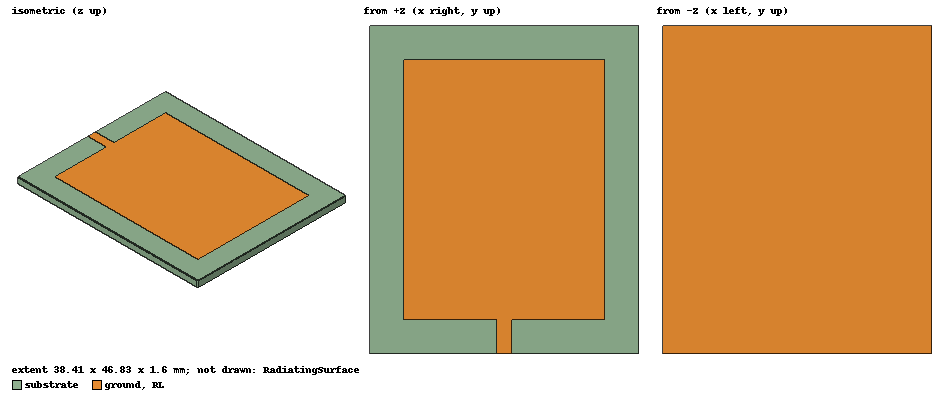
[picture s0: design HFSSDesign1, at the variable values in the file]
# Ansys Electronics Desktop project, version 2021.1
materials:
  vacuum: permittivity=1
  FR4_epoxy: permittivity=4.4 dielectric_loss_tangent=0.02

design HFSSDesign1 (HFSS, DrivenModal, model units mm)
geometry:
  substrate [FR4_epoxy] = box(corner=(0mm, 0mm, 0mm), size=(38.41mm, 46.83mm, 1.6mm))
  ground = rectangle(corner=(0mm, 0mm, 0mm), x_size=38.41mm, y_size=46.83mm)
  RL = rectangle(corner=(4.8mm, 4.8mm, 1.6mm), x_size=28.81mm, y_size=37.23mm)
  FL = rectangle(corner=(18.205mm, 0mm, 1.6mm), x_size=2mm, y_size=12.5mm)
  RL.unite(FL)
  port = rectangle(corner=(18.205mm, 0mm, 0mm), z_size=1.6mm, x_size=2mm)
  RadiatingSurface [vacuum] = region(absolute_offset=40.816327mm on all sides)
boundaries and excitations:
  PerfE1: Perfect E Objects=ground
  PerfE2: Perfect E Objects=RL
  Open1: Radiation Objects=RadiatingSurface
  1: Lumped Port Objects=port Modes{Mode1{IntLine{middle of port.edge(z at corner) -> middle of port.edge(z opposite corner)} CharImp=Zpi RenormImp=50ohm}} Impedance=50ohm
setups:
  Setup1: HfssDriven Frequency=2.45GHz MaxDeltaS=0.02 MaximumPasses=6 MinimumPasses=1 MinimumConvergedPasses=1 PercentRefinement=30 BasisOrder=1 PortAccuracy=2
    sweep Sweep: 1GHz to 8GHz, 401 points; Type=Fast SaveFields
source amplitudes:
  1:1: 1W 0deg
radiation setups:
  3D: Infinite Sphere Theta=0deg..180deg step 2deg Phi=-180deg..180deg step 2deg
  Elevation: Infinite Sphere Theta=-180deg..180deg step 1deg Phi=0deg..90deg step 90deg
  Azimuth: Infinite Sphere Theta=90deg..90deg step 0deg Phi=-180deg..180deg step 1deg
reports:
  S Parameter Plot 1: VSWR(1) vs Freq on Setup1 : Sweep
  S Parameter Plot 2: dB(S(1,1)) vs Freq on Setup1 : Sweep
  S Parameter Plot 3: dB(S(1,1)) vs Freq on Setup1 : Sweep; markers m1 at 3.7125GHz, m2 at 5.095GHz, m3 at 5.5325GHz, m4 at 6.0925GHz, m5 at 7.44GHz, MY1 at y=-10
